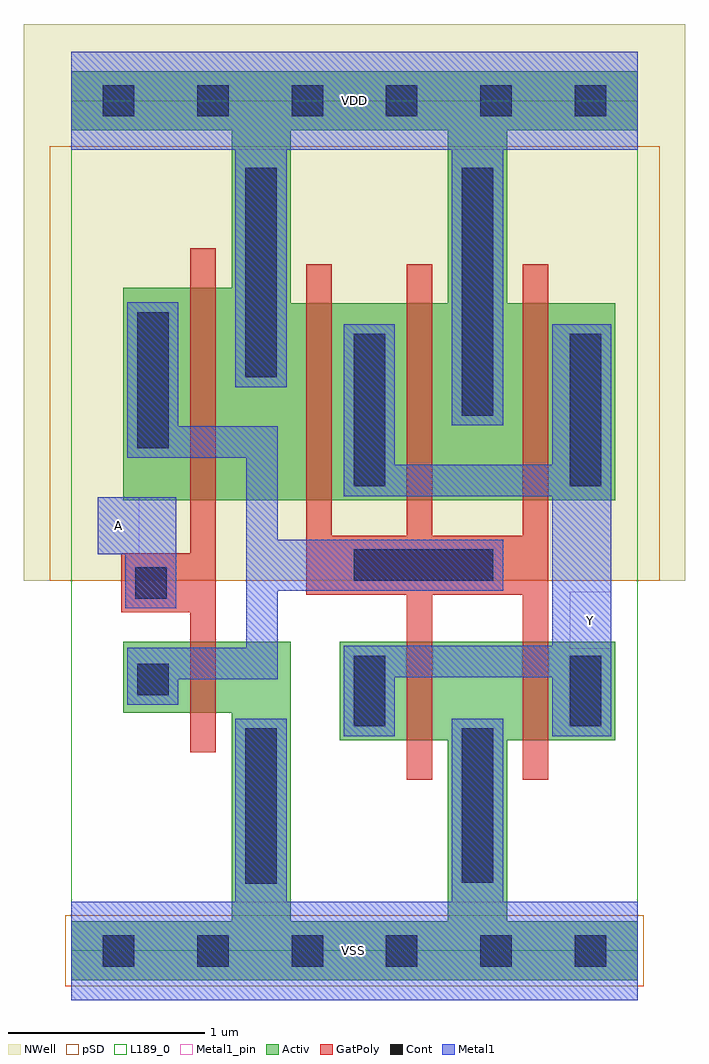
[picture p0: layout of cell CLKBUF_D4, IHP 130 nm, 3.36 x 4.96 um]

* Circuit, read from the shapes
.subckt CLKBUF_D4 A VDD VSS Y
XM1 VSS A n1 VSS sg13_lv_nmos w=0.36u l=0.13u
XM2 VSS n1 Y VSS sg13_lv_nmos w=0.5u l=0.13u m=2
XM3 VDD A n1 VDD sg13_lv_pmos w=1.08u l=0.13u
XM4 Y n1 VDD VDD sg13_lv_pmos w=1u l=0.13u m=3
.ends

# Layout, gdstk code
import gdstk
lib = gdstk.Library(unit=1e-6, precision=1e-09)
def R(c, l, rs):  # rectangles x0, y0, x1, y1
    for r in rs: c.add(gdstk.rectangle(r[:2], r[2:], *l))
def A(c, l, x, y, w, h, nx, ny, dx, dy):  # array of equal rectangles
    R(c, l, [(x+i*dx, y+j*dy, x+i*dx+w, y+j*dy+h) for i in range(nx) for j in range(ny)])
def P(c, l, *ps):  # polygons
    for p in ps: c.add(gdstk.Polygon(p, *l))
Activ = (1, 0)
GatPoly = (5, 0)
Cont = (6, 0)
Metal1 = (8, 0)
Metal1_pin = (8, 2)
pSD = (14, 0)
NWell = (31, 0)
L189_0 = (189, 0)

clkbuf_d4 = lib.new_cell('CLKBUF_D4')
P(clkbuf_d4, Activ, [(0.265,2.29),(0.265,3.29),(1.115,3.29),(1.915,3.29),(1.915,4.17),(1.115,4.17),(1.115,3.29),(0.265,3.29),(0.265,3.37),(0.815,3.37),(0.815,4.17),(0,4.17),(0,4.47),(2.88,4.47),(2.88,4.17),(2.215,4.17),(2.215,3.29),(2.765,3.29),(2.765,2.29)],
  [(0,-0.15),(0,0.15),(0.815,0.15),(0.815,1.21),(0.265,1.21),(0.265,1.57),(1.115,1.57),(1.115,0.15),(1.915,0.15),(1.915,1.07),(1.365,1.07),(1.365,1.57),(2.765,1.57),(2.765,1.07),(2.215,1.07),(2.215,0.15),(2.88,0.15),(2.88,-0.15)])
P(clkbuf_d4, GatPoly, [(0.605,1.01),(0.605,1.72),(0.255,1.72),(0.255,2.02),(0.605,2.02),(0.605,3.57),(0.735,3.57),(0.735,1.01)],
  [(1.705,0.87),(1.705,1.81),(1.195,1.81),(1.195,3.49),(1.325,3.49),(1.325,2.11),(1.705,2.11),(1.705,3.49),(1.835,3.49),(1.835,2.11),(2.295,2.11),(2.295,3.49),(2.425,3.49),(2.425,0.87),(2.295,0.87),(2.295,1.81),(1.835,1.81),(1.835,0.87)])
A(clkbuf_d4, Cont, 0.16, -0.08, 0.16, 0.16, 6, 2, 0.48, 4.32)
R(clkbuf_d4, Cont, [(0.885,0.34,1.045,1.13), (1.985,0.345,2.145,1.13), (1.435,1.14,1.595,1.5), (2.535,1.14,2.695,1.5), (0.335,1.3,0.495,1.46), (0.325,1.79,0.485,1.95), (1.435,1.88,2.145,2.04), (1.435,2.36,1.595,3.135), (2.535,2.36,2.695,3.135), (0.335,2.555,0.495,3.245), (1.985,2.72,2.145,3.98), (0.885,2.915,1.045,3.98)])
R(clkbuf_d4, Metal1, [(0.835,2.865,1.095,4.07)])
P(clkbuf_d4, Metal1, [(0.285,1.25),(0.285,1.54),(0.89,1.54),(0.89,2.505),(0.285,2.505),(0.285,3.295),(0.545,3.295),(0.545,2.665),(1.05,2.665),(1.05,2.09),(2.195,2.09),(2.195,1.83),(1.05,1.83),(1.05,1.38),(0.545,1.38),(0.545,1.25)],
  [(1.935,2.67),(1.935,4.07),(0,4.07),(0,4.57),(2.88,4.57),(2.88,4.07),(2.195,4.07),(2.195,2.67)],
  [(1.385,1.09),(1.385,1.55),(2.445,1.55),(2.445,2.31),(1.385,2.31),(1.385,3.185),(1.645,3.185),(1.645,2.47),(2.445,2.47),(2.445,3.185),(2.745,3.185),(2.745,1.09),(2.445,1.09),(2.445,1.39),(1.645,1.39),(1.645,1.09)],
  [(0.275,1.74),(0.275,2.015),(0.135,2.015),(0.135,2.305),(0.535,2.305),(0.535,1.74)],
  [(0,-0.25),(0,0.25),(0.835,0.25),(0.835,1.18),(1.095,1.18),(1.095,0.25),(1.935,0.25),(1.935,1.18),(2.195,1.18),(2.195,0.25),(2.88,0.25),(2.88,-0.25)])
R(clkbuf_d4, Metal1_pin, [(0,-0.25,2.88,0.25), (2.535,1.535,2.745,1.825), (0.135,2.015,0.345,2.305), (0,4.07,2.88,4.57)])
R(clkbuf_d4, pSD, [(-0.03,-0.18,2.91,0.18), (-0.11,1.88,2.99,4.09)])
R(clkbuf_d4, NWell, [(-0.24,1.88,3.12,4.71)])
R(clkbuf_d4, L189_0, [(0,0,2.88,4.32)])
clkbuf_d4.add(gdstk.Label('A', (0.24,2.16), layer=8, texttype=25))
clkbuf_d4.add(gdstk.Label('Y', (2.64,1.68), layer=8, texttype=25))
clkbuf_d4.add(gdstk.Label('VSS', (1.435,0), layer=8, texttype=25))
clkbuf_d4.add(gdstk.Label('VDD', (1.44,4.32), layer=8, texttype=25))

lib.write_gds('CLKBUF_D4.gds')
